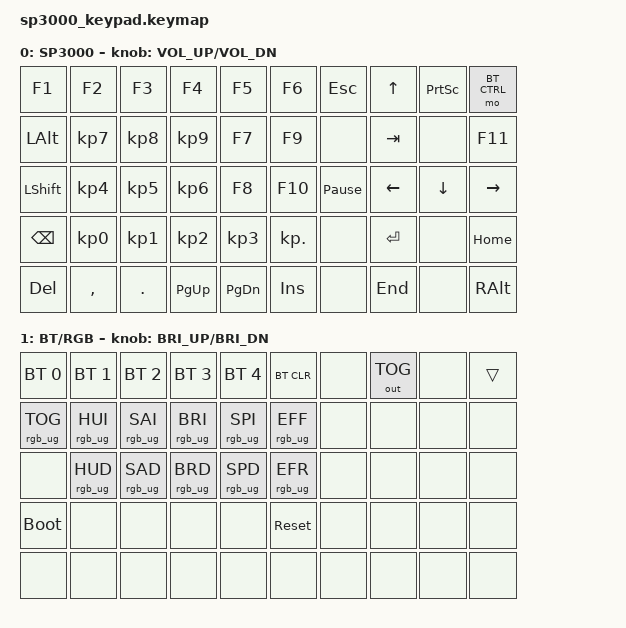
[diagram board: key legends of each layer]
/*
 * SP3000 Scanner Keypad — ZMK Keymap
 *
 * IMPORTANT: These are PLACEHOLDER keycodes. Capture actual HID scancodes
 * from the original SP3000 keyboard using evtest/xev, then update this file.
 *
 * Verified Switch-to-Matrix Mapping (from KiCad schematic wiring):
 * ┌──────────────────────────────────────────────────────────────────────────┐
 * │       C0    C1    C2    C3    C4    C5    C6    C7    C8    C9          │
 * │ R0:  SW2   SW7   SW11  SW16  SW21  SW26  SW31  SW36  SW41  ---         │
 * │ R1:  SW3   SW8   SW12  SW17  SW22  SW27  ---   SW37  ---   SW34        │
 * │ R2:  SW4   SW9   SW13  SW18  SW23  SW28  SW33  SW38  SW43  SW35        │
 * │ R3:  SW5   SW1   SW14  SW19  SW24  SW29  ---   SW39  ---   SW42        │
 * │ R4:  SW6   SW10  SW15  SW20  SW25  SW30  ---   SW40  ---   SW44        │
 * └──────────────────────────────────────────────────────────────────────────┘
 *
 * 43 switches + encoder (SW45) push = 44 active positions out of 50.
 * Empty positions: R0C9, R1C6, R1C8, R3C6, R3C8, R4C6, R4C8
 *
 * Encoder: SW45 (EC11) — CW/CCW rotation on dedicated GPIO pins (P0.22/P0.20)
 *          Push button may be wired into the matrix (TBD — test with evtest)
 *
 * Physical key labels are from the Fuji SP3000 Instruction Manual PP3-B1271E2.
 * The original keyboard sends standard PC HID keycodes; FRONTMAN software
 * running on the scanner's Windows PC interprets them.
 *
 * SUGGESTED physical layout (verify with your PCB silkscreen / 3D print):
 *
 *     C0       C1       C2       C3       C4       C5       C6       C7       C8       C9
 * R0: F1       F2       F3       F4       F5       F6       PRTSTOP  UP       M1       [enc]
 * R1: ALT      -C/KP7   -M/KP8   -Y/KP9   FILMDV   HOLD     ---      FIELD    ---      SORT
 * R2: SHIFT    +C/KP4   +M/KP5   +Y/KP6   FULL     PRTSIZE  SCNCNCL  LEFT     DOWN     RIGHT
 * R3: PASS     -3D/KP0  -D/KP1   N/KP2    +D/KP3   +3D      ---      ENTER    ---      M3
 * R4: PSET     ◁FEED    ▷FEED    △FRAME   ▽FRAME   COLCNCL  ---      M2       ---      M4
 */

#include <behaviors.dtsi>
#include <dt-bindings/zmk/keys.h>
#include <dt-bindings/zmk/bt.h>
#include <dt-bindings/zmk/rgb.h>
#include <dt-bindings/zmk/outputs.h>

#define DEFAULT 0
#define BT_CTRL 1

/ {
    keymap {
        compatible = "zmk,keymap";

        default_layer {
            display-name = "SP3000";
            /*
             * PLACEHOLDER KEYMAP — Replace with captured scancodes from evtest
             *
             * The color/density keys double as numpad 0-9 per the manual.
             * Most SP3000 function keys map to standard F-keys, Tab, Enter,
             * arrows, Escape, and numpad keys.
             *
             *        C0      C1      C2      C3      C4      C5      C6        C7      C8      C9
             * R0:   F1      F2      F3      F4      F5      F6      ESC       UP      PSCRN   (layer)
             * R1:   LALT    KP7     KP8     KP9     F7      F9      ---       TAB     ---     F11
             * R2:   LSHIFT  KP4     KP5     KP6     F8      F10     PAUSE     LEFT    DOWN    RIGHT
             * R3:   BKSP    KP0     KP1     KP2     KP3     KPDOT   ---       ENTER   ---     HOME
             * R4:   DEL     COMMA   DOT     PGUP    PGDN    INS     ---       END     ---     RALT
             */
            bindings = <
                &kp F1     &kp F2     &kp F3     &kp F4     &kp F5      &kp F6      &kp ESC         &kp UP      &kp PSCRN    &mo BT_CTRL
                &kp LALT   &kp KP_N7  &kp KP_N8  &kp KP_N9  &kp F7      &kp F9      &none           &kp TAB     &none        &kp F11
                &kp LSHFT  &kp KP_N4  &kp KP_N5  &kp KP_N6  &kp F8      &kp F10     &kp PAUSE_BREAK &kp LEFT    &kp DOWN     &kp RIGHT
                &kp BSPC   &kp KP_N0  &kp KP_N1  &kp KP_N2  &kp KP_N3   &kp KP_DOT  &none           &kp RET     &none        &kp HOME
                &kp DEL    &kp COMMA  &kp DOT    &kp PG_UP   &kp PG_DN   &kp INS     &none           &kp END     &none        &kp RALT
            >;

            sensor-bindings = <&inc_dec_kp C_VOL_UP C_VOL_DN>;
        };

        bt_ctrl_layer {
            display-name = "BT/RGB";
            /*
             * Bluetooth & RGB control layer
             * Accessible by holding the key at R0C9
             *
             *        C0           C1           C2           C3           C4           C5        C6    C7         C8    C9
             * R0:   BT_SEL 0     BT_SEL 1     BT_SEL 2     BT_SEL 3     BT_SEL 4     BT_CLR    -     OUT_TOG    -     (held)
             * R1:   RGB_TOG      RGB_HUI      RGB_SAI      RGB_BRI      RGB_SPI      RGB_EFF   -     -          -     -
             * R2:   -            RGB_HUD      RGB_SAD      RGB_BRD      RGB_SPD      RGB_EFR   -     -          -     -
             * R3:   BOOTLOADER   -            -            -            -            RESET     -     -          -     -
             * R4:   -            -            -            -            -            -         -     -          -     -
             */
            bindings = <
                &bt BT_SEL 0  &bt BT_SEL 1    &bt BT_SEL 2    &bt BT_SEL 3    &bt BT_SEL 4    &bt BT_CLR      &none  &out OUT_TOG  &none  &trans
                &rgb_ug RGB_TOG &rgb_ug RGB_HUI &rgb_ug RGB_SAI &rgb_ug RGB_BRI &rgb_ug RGB_SPI &rgb_ug RGB_EFF &none  &none         &none  &none
                &none         &rgb_ug RGB_HUD &rgb_ug RGB_SAD &rgb_ug RGB_BRD &rgb_ug RGB_SPD &rgb_ug RGB_EFR &none  &none         &none  &none
                &bootloader   &none           &none           &none           &none           &sys_reset      &none  &none         &none  &none
                &none         &none           &none           &none           &none           &none           &none  &none         &none  &none
            >;

            sensor-bindings = <&inc_dec_kp C_BRI_UP C_BRI_DN>;
        };
    };
};
